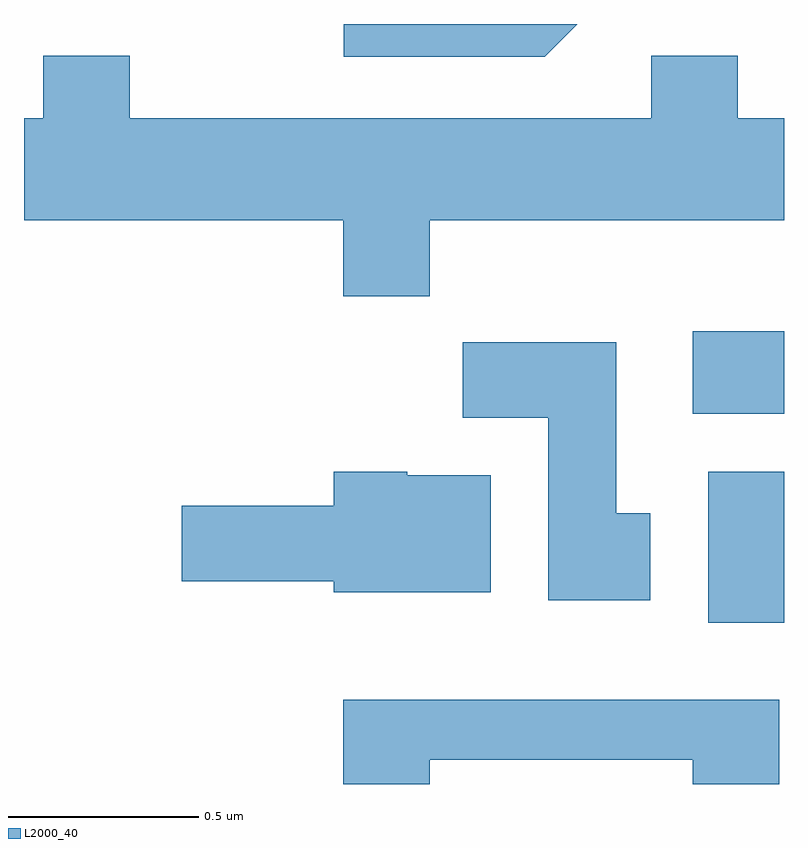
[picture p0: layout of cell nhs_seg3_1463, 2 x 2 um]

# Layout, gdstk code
import gdstk
lib = gdstk.Library(unit=1e-6, precision=1e-09)
def R(c, l, rs):  # rectangles x0, y0, x1, y1
    for r in rs: c.add(gdstk.rectangle(r[:2], r[2:], *l))
def P(c, l, *ps):  # polygons
    for p in ps: c.add(gdstk.Polygon(p, *l))
L2000_40 = (2000, 40)

nhs_seg3_1463 = lib.new_cell('nhs_seg3_1463')
R(nhs_seg3_1463, L2000_40, [(197.411,1209.316,197.611,1209.714), (197.371,1209.866,197.611,1210.084)])
P(nhs_seg3_1463, L2000_40, [(197.067,1210.892),(196.453,1210.892),(196.453,1210.806),(196.982,1210.806)],
  [(196.679,1210.376),(197.611,1210.376),(197.611,1210.644),(197.489,1210.644),(197.489,1210.809),(197.261,1210.809),(197.261,1210.644),(195.889,1210.644),(195.889,1210.809),(195.661,1210.809),(195.661,1210.644),(195.611,1210.644),(195.611,1210.376),(196.451,1210.376),(196.451,1210.176),(196.679,1210.176)],
  [(197.259,1209.604),(197.169,1209.604),(197.169,1210.054),(196.766,1210.054),(196.766,1209.856),(196.991,1209.856),(196.991,1209.376),(197.259,1209.376)],
  [(196.839,1209.704),(196.62,1209.704),(196.62,1209.714),(196.426,1209.714),(196.426,1209.624),(196.026,1209.624),(196.026,1209.426),(196.426,1209.426),(196.426,1209.396),(196.839,1209.396)],
  [(196.679,1208.956),(197.371,1208.956),(197.371,1208.892),(197.599,1208.892),(197.599,1209.114),(196.451,1209.114),(196.451,1208.892),(196.679,1208.892)])

lib.write_gds('nhs_seg3_1463.gds')
